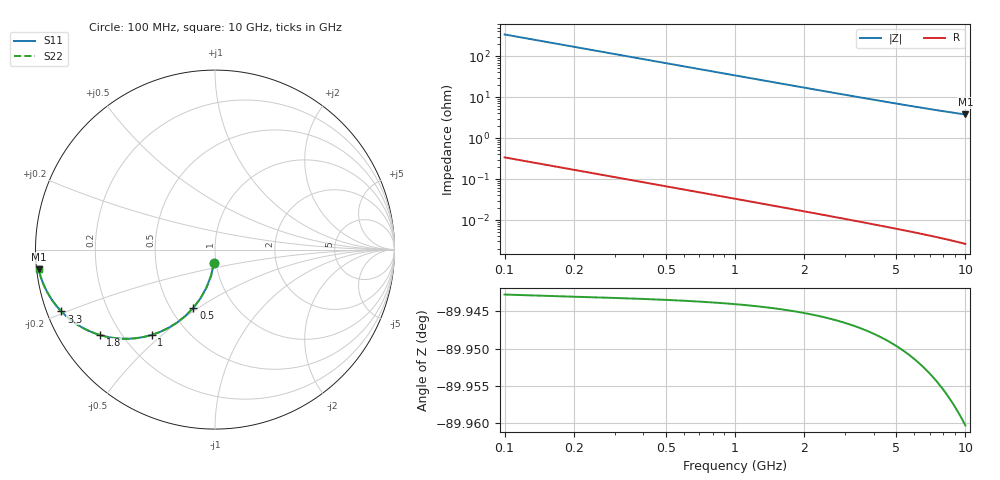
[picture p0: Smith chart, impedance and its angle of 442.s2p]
# Hz S RI R 50.00
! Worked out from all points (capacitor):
!   100 points, 100 MHz to 10 GHz, reference 50 ohm
!   read as one part in shunt: C = 4.7 pF near 100 MHz
!   lowest |Z| = 3.78 ohm at 10 GHz (marker M1)
!   S11 on the Smith chart (normalised r, x): 100 MHz: 0.98, -0.14; 500 MHz: 0.65, -0.48; 1 GHz: 0.32, -0.46; 1.8 GHz: 0.13, -0.33; 3.3 GHz: 0.04, -0.19; 10 GHz: 0.01, -0.06
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1e8  -0.00547 -0.0733  0.9945 -0.0737  0.9945 -0.0737  -0.00547 -0.0733
2e8  -0.0215 -0.1442  0.9784 -0.145  0.9784 -0.145  -0.0215 -0.1442
3e8  -0.047 -0.2107  0.9529 -0.2118  0.9529 -0.2118  -0.047 -0.2107
4e8  -0.0805 -0.271  0.9194 -0.2724  0.9194 -0.2724  -0.0805 -0.271
5e8  -0.1203 -0.324  0.8796 -0.3258  0.8796 -0.3258  -0.1203 -0.324
6e8  -0.1645 -0.3691  0.8355 -0.3713  0.8355 -0.3713  -0.1645 -0.3691
7e8  -0.2112 -0.4064  0.7887 -0.409  0.7887 -0.409  -0.2112 -0.4064
8e8  -0.259 -0.4362  0.7409 -0.4391  0.7409 -0.4391  -0.259 -0.4362
1e9  -0.3531 -0.4756  0.6468 -0.4793  0.6468 -0.4793  -0.3531 -0.4756
1.2e9  -0.4399 -0.4937  0.56 -0.4981  0.56 -0.4981  -0.4399 -0.4937
1.4e9  -0.5165 -0.4967  0.4834 -0.5018  0.4834 -0.5018  -0.5165 -0.4967
1.8e9  -0.6382 -0.4767  0.3617 -0.4833  0.3617 -0.4833  -0.6382 -0.4767
2.1e9  -0.7059 -0.4513  0.294 -0.459  0.294 -0.459  -0.7059 -0.4513
2.5e9  -0.7727 -0.4139  0.2272 -0.4231  0.2272 -0.4231  -0.7727 -0.4139
2.9e9  -0.8206 -0.3778  0.1793 -0.3885  0.1793 -0.3885  -0.8206 -0.3778
3.3e9  -0.8555 -0.3449  0.1443 -0.3571  0.1443 -0.3571  -0.8555 -0.3449
3.4e9  -0.8628 -0.3372  0.1371 -0.3498  0.1371 -0.3498  -0.8628 -0.3372
4.2e9  -0.9057 -0.2838  0.0941 -0.2995  0.0941 -0.2995  -0.9057 -0.2838
5.1e9  -0.9342 -0.2376  0.0655 -0.2568  0.0655 -0.2568  -0.9342 -0.2376
6.7e9  -0.9611 -0.1795  0.0385 -0.2053  0.0385 -0.2053  -0.9611 -0.1795
8.4e9  -0.9751 -0.1377  0.0242 -0.1706  0.0242 -0.1706  -0.9751 -0.1377
1e10  -0.9825 -0.1089  0.0166 -0.1489  0.0166 -0.1489  -0.9825 -0.1089
